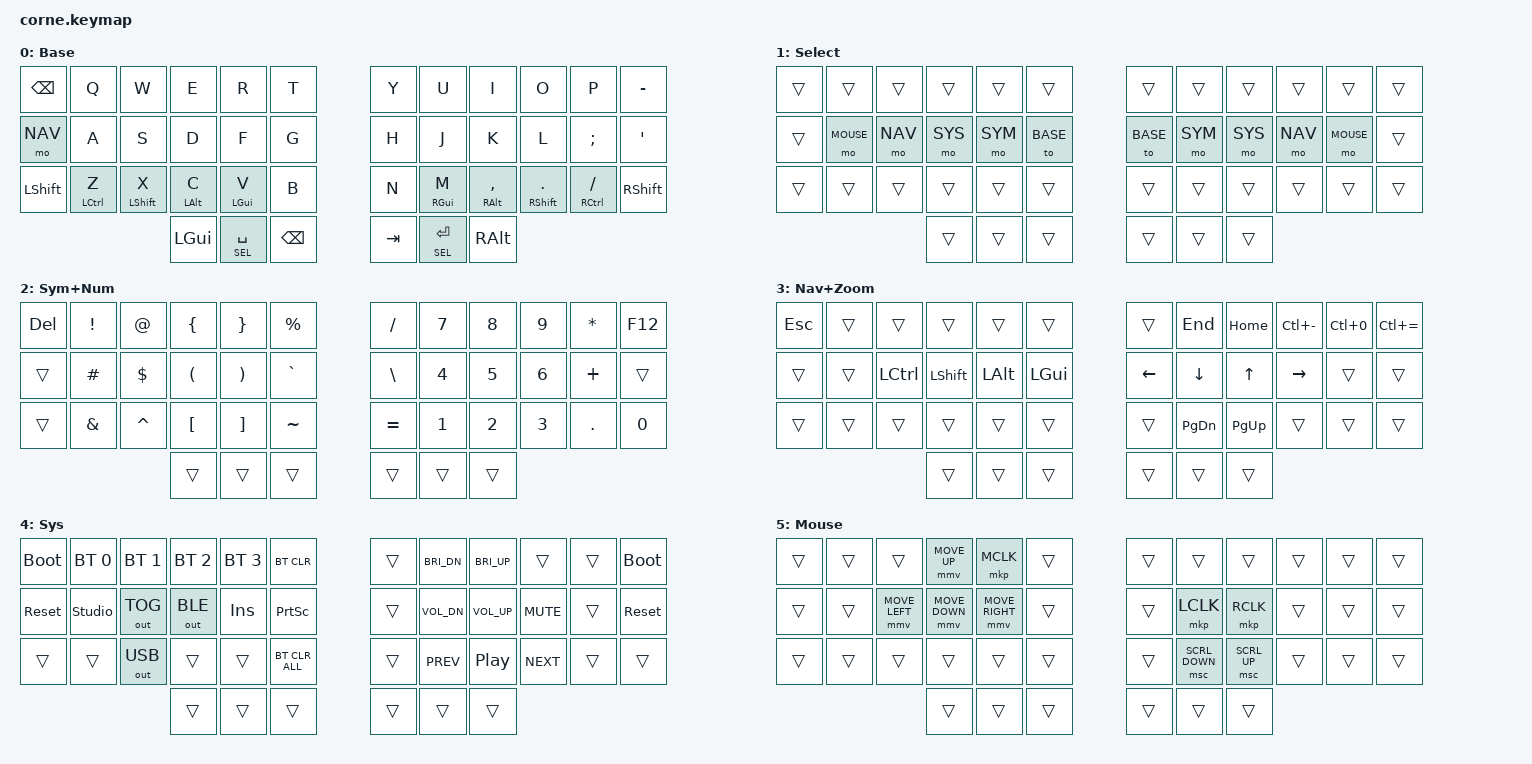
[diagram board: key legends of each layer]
/*
 * Corne keymap adapted from the ZSA Moonlander "Smooth Landing" layout
 * (Oryx pxeRD). 72 keys -> 42, so the number row is gone and the
 * Moonlander's top row folds away; everything else keeps its relative place.
 *
 * SPDX-License-Identifier: MIT
 */

#include <behaviors.dtsi>
#include <dt-bindings/zmk/keys.h>
#include <dt-bindings/zmk/bt.h>
#include <dt-bindings/zmk/outputs.h>
#include <dt-bindings/zmk/pointing.h>

// Layer index matters: ZMK resolves a key by scanning active layers from
// the highest index down. SEL must sit BELOW every layer it selects, or
// its own bindings shadow the target layer's.
#define BASE  0
#define SEL   1
#define SYM   2
#define NAV   3
#define SYS   4
#define MOUSE 5

// Key positions, for the bottom row mods' bilateral hold trigger.
#define KEYS_L 0 1 2 3 4 5 12 13 14 15 16 17 24 25 26 27 28 29
#define KEYS_R 6 7 8 9 10 11 18 19 20 21 22 23 30 31 32 33 34 35
#define THUMBS 36 37 38 39 40 41

/ {
        behaviors {
                // Bottom row mods, as the original Smooth Landing had them.
                // Strictly bilateral -- the opposite half only -- since these
                // keys sit next to each other and same-hand rolls like "zx"
                // would otherwise misfire.
                bml: bottom_row_mod_left {
                        compatible = "zmk,behavior-hold-tap";
                        display-name = "Mod L";
                        #binding-cells = <2>;
                        flavor = "balanced";
                        tapping-term-ms = <280>;
                        quick-tap-ms = <175>;
                        require-prior-idle-ms = <150>;
                        bindings = <&kp>, <&kp>;
                        hold-trigger-key-positions = <KEYS_R THUMBS>;
                        hold-trigger-on-release;
                };

                bmr: bottom_row_mod_right {
                        compatible = "zmk,behavior-hold-tap";
                        display-name = "Mod R";
                        #binding-cells = <2>;
                        flavor = "balanced";
                        tapping-term-ms = <280>;
                        quick-tap-ms = <175>;
                        require-prior-idle-ms = <150>;
                        bindings = <&kp>, <&kp>;
                        hold-trigger-key-positions = <KEYS_L THUMBS>;
                        hold-trigger-on-release;
                };

                // Both outer thumbs held together clears every bluetooth
                // profile. tap-preferred with a long term means a quick press
                // does nothing -- those two keys are OPT and CMD, which get
                // pressed together in ordinary shortcuts.
                bt_clr_hold: bt_clr_hold {
                        compatible = "zmk,behavior-hold-tap";
                        #binding-cells = <2>;
                        flavor = "tap-preferred";
                        tapping-term-ms = <1500>;
                        bindings = <&bt_clr_all_macro>, <&none>;
                };

                // Thumb layer taps: tap for the key, hold for the layer.
                // quick-tap-ms lets tap-then-hold auto-repeat, which matters
                // for backspace.
                tlt: thumb_layer_tap {
                        compatible = "zmk,behavior-hold-tap";
                        display-name = "Layer Tap";
                        #binding-cells = <2>;
                        flavor = "hold-preferred";
                        tapping-term-ms = <200>;
                        quick-tap-ms = <200>;
                        bindings = <&mo>, <&kp>;
                };
        };

        macros {
                bt_clr_all_macro: bt_clr_all_macro {
                        compatible = "zmk,behavior-macro";
                        #binding-cells = <0>;
                        bindings = <&bt BT_CLR_ALL>;
                };
        };

        combos {
                compatible = "zmk,combos";

                // Outer thumbs, positions 36 and 41.
                combo_bt_clear {
                        bindings = <&bt_clr_hold 0 0>;
                        key-positions = <36 41>;
                        timeout-ms = <50>;
                        require-prior-idle-ms = <250>;
                };

                // Escape, either hand: inner thumb plus the index home key.
                // Base only, so the layers keep their own bindings, and
                // require-prior-idle keeps it out of the way while typing.
                combo_esc_left {
                        bindings = <&kp ESC>;
                        key-positions = <38 17>;
                        timeout-ms = <40>;
                        require-prior-idle-ms = <150>;
                        layers = <BASE>;
                };

                combo_esc_right {
                        bindings = <&kp ESC>;
                        key-positions = <39 18>;
                        timeout-ms = <40>;
                        require-prior-idle-ms = <150>;
                        layers = <BASE>;
                };
        };

        keymap {
                compatible = "zmk,keymap";

                base_layer {
                        display-name = "Base";
// -----------------------------------------------------------------------------------------
// | BSPC |  Q  |  W  |  E  |  R  |  T  |   |  Y  |  U  |  I  |  O  |  P  |  -   |
// | NAV  |  A  |  S  |  D  |  F  |  G  |   |  H  |  J  |  K  |  L  |  ;  |  '   |
// | SHFT | Z^  | X^  | C^  | V^  |  B  |   |  N  | M^  | ,^  | .^  | /^  | SHFT |
//                    | CMD | SPC*|BSPC |   | TAB |ENT* | OPT |
// Bottom row on hold: Z=CTRL X=SHFT C=ALT V=GUI, mirrored M=GUI ,=ALT .=SHFT /=CTRL
// SPC* / ENT* = tap the key, hold for the layer selector (see SEL).
// NAV = hold for the arrow layer.
// Top right is -, so backslash moved to SYM (where - used to be).
                        bindings = <
   &kp BSPC     &kp Q        &kp W        &kp E         &kp R        &kp T       &kp Y     &kp U        &kp I           &kp O          &kp P           &kp MINUS
   &mo NAV      &kp A        &kp S        &kp D         &kp F        &kp G       &kp H     &kp J        &kp K           &kp L          &kp SEMI        &kp SQT
   &kp LSHFT    &bml LCTRL Z &bml LSHFT X &bml LALT C   &bml LGUI V  &kp B       &kp N     &bmr RGUI M  &bmr RALT COMMA &bmr RSHFT DOT &bmr RCTRL FSLH &kp RSHFT
                                          &kp LGUI      &tlt SEL SPACE &kp BSPC  &kp TAB   &tlt SEL RET &kp RALT
                        >;
                };

                sel_layer {
                        display-name = "Select";
// -----------------------------------------------------------------------------------------
// Held from either middle thumb. Both hands mirror each other, so whichever
// thumb is down, the other hand picks the layer.
// |      |     |     |     |     |     |   |     |     |     |     |     |      |
// |      |MOUSE| NAV | SYS | SYM | BASE|   | BASE| SYM | SYS | NAV |MOUSE|      |
// |      |     |     |     |     |     |   |     |     |     |     |     |      |
                        bindings = <
   &trans &trans    &trans  &trans  &trans  &trans     &trans   &trans  &trans  &trans  &trans    &trans
   &trans &mo MOUSE &mo NAV &mo SYS &mo SYM &to BASE   &to BASE &mo SYM &mo SYS &mo NAV &mo MOUSE &trans
   &trans &trans    &trans  &trans  &trans  &trans     &trans   &trans  &trans  &trans  &trans    &trans
                            &trans  &trans  &trans     &trans   &trans  &trans
                        >;
                };

                sym_layer {
                        display-name = "Sym+Num";
// -----------------------------------------------------------------------------------------
// | DEL  |  !  |  @  |  {  |  }  |  %  |   |  /  |  7  |  8  |  9  |  *  | F12  |
// |      |  #  |  $  |  (  |  )  |  `  |   |  \  |  4  |  5  |  6  |  +  |      |
// |      |  &  |  ^  |  [  |  ]  |  ~  |   |  =  |  1  |  2  |  3  |  .  |  0   |
//                    (thumbs fall through to base)
                        bindings = <
   &kp DEL   &kp EXCL &kp AT    &kp LBRC &kp RBRC &kp PRCNT   &kp FSLH  &kp N7 &kp N8 &kp N9 &kp ASTRK &kp F12
   &trans    &kp HASH &kp DLLR  &kp LPAR &kp RPAR &kp GRAVE   &kp BSLH  &kp N4 &kp N5 &kp N6 &kp PLUS  &trans
   &trans    &kp AMPS &kp CARET &kp LBKT &kp RBKT &kp TILDE   &kp EQUAL &kp N1 &kp N2 &kp N3 &kp DOT   &kp N0
                               &trans   &trans   &trans      &trans    &trans &trans
                        >;
                };

                nav_layer {
                        display-name = "Nav+Zoom";
// -----------------------------------------------------------------------------------------
// | ESC  |     |     |     |     |     |   |     | END | HOME|ZOOM-|ZOOM0|ZOOM+ |
// |      |     | CTRL| SHFT | OPT | CMD |   | LFT | DWN |  UP | RGT |     |      |
// Mods under the left hand so shift/opt/cmd combine with the arrows.
// |      |     |     |     |     |     |   |     |PGDN | PGUP|     |     |      |
                        bindings = <
   &kp ESC &trans &trans &trans &trans &trans   &trans   &kp END   &kp HOME  &kp LC(MINUS) &kp LC(N0) &kp LC(EQUAL)
   &trans  &trans &kp LCTRL &kp LSHFT &kp LALT &kp LGUI   &kp LEFT &kp DOWN &kp UP &kp RIGHT &trans &trans
   &trans  &trans &trans &trans &trans &trans   &trans   &kp PG_DN &kp PG_UP &trans        &trans     &trans
                         &trans &trans &trans   &trans   &trans    &trans
                        >;
                };

                sys_layer {
                        display-name = "Sys";
// -----------------------------------------------------------------------------------------
// | BOOT | BT0 | BT1 | BT2 | BT3 |BTCLR|   |     | BRI-| BRI+|     |     | BOOT |
// | RESET| UNLK| OUT | BLE | INS |PSCRN|   |     | VOL-| VOL+| MUTE|     |RESET |
// |      |     | USB |     |     |CLRALL|  |     | PREV| P/P | NEXT|     |      |
// BT_CLR on T clears the active profile; BT_CLR_ALL on B clears all five.
                        bindings = <
   &bootloader &bt BT_SEL 0   &bt BT_SEL 1 &bt BT_SEL 2 &bt BT_SEL 3 &bt BT_CLR   &trans &kp C_BRI_DN &kp C_BRI_UP &trans     &trans &bootloader
   &sys_reset  &studio_unlock &out OUT_TOG &out OUT_BLE &kp INS      &kp PSCRN    &trans &kp C_VOL_DN &kp C_VOL_UP &kp C_MUTE &trans &sys_reset
   &trans      &trans         &out OUT_USB &trans       &trans       &bt BT_CLR_ALL &trans &kp C_PREV &kp C_PP     &kp C_NEXT &trans &trans
                                           &trans       &trans       &trans       &trans &trans       &trans
                        >;
                };

                mouse_layer {
                        display-name = "Mouse";
// -----------------------------------------------------------------------------------------
// |      |     |     |  UP | MCLK|     |   |     |     |     |     |     |      |
// |      |     | LFT | DWN | RGT |     |   |     |LCLK |RCLK |     |     |      |
// |      |     |     |     |     |     |   |     |SCR- |SCR+ |     |     |      |
                        bindings = <
   &trans &trans &trans          &mmv MOVE_UP   &mkp MCLK       &trans   &trans &trans         &trans       &trans &trans &trans
   &trans &trans &mmv MOVE_LEFT  &mmv MOVE_DOWN &mmv MOVE_RIGHT &trans   &trans &mkp LCLK      &mkp RCLK    &trans &trans &trans
   &trans &trans &trans          &trans         &trans          &trans   &trans &msc SCRL_DOWN &msc SCRL_UP &trans &trans &trans
                                 &trans         &trans          &trans   &trans &trans         &trans
                        >;
                };
        };
};
